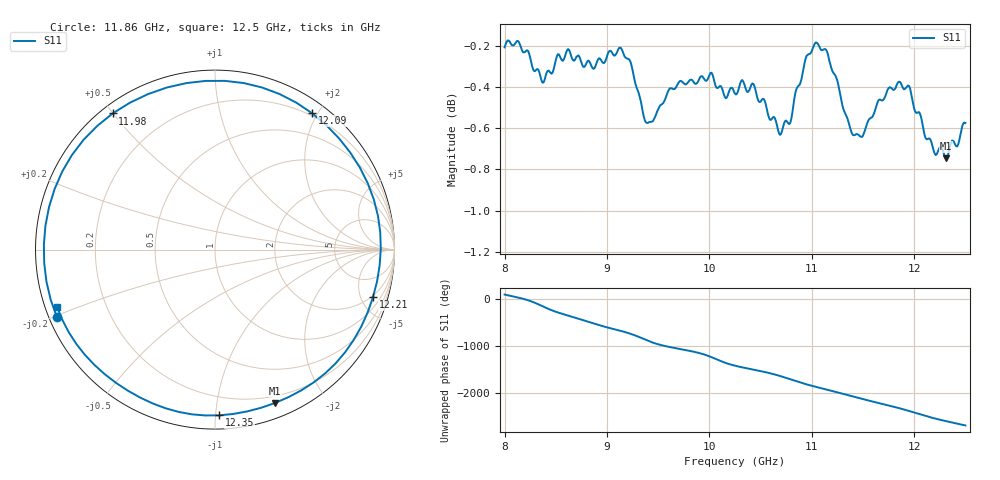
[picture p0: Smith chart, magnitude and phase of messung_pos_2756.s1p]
#  HZ  S  RI  R  50.00
! Rohde & Schwarz Vector Network Analyzer
! Rohde-Schwarz,ZNA43-4Port,1332450044101932,2.92
! Created: UTC 6/1/2026, 11:34:51 AM
! freq[Hz]  re:S11  im:S11
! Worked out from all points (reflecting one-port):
!   451 points, 8 GHz to 12.5 GHz, reference 50 ohm
!   lowest |S11| = -0.7 dB at 12.31 GHz (marker M1), VSWR 23.28, Z = 6.72 - j72.8 ohm
!   phase of S11 starts at 93 deg and turns -2773 deg over the sweep
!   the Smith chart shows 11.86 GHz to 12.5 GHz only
!   S11 on the Smith chart (normalised r, x): 11.86 GHz: 0.02, -0.20; 11.98 GHz: 0.03, +0.50; 12.09 GHz: 0.16, +1.92; 12.21 GHz: 1.83, -6.26; 12.35 GHz: 0.08, -1.02; 12.5 GHz: 0.03, -0.18
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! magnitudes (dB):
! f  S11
! 8 GHz  -0.2
! 8.13 GHz  -0.2
! 8.37 GHz  -0.4
! 8.57 GHz  -0.3
! 8.87 GHz  -0.3
! 9.13 GHz  -0.2
! 9.23 GHz  -0.3
! 9.39 GHz  -0.6
! 9.69 GHz  -0.4
! 10.02 GHz  -0.3
! 10.25 GHz  -0.4
! 10.43 GHz  -0.4
! 10.69 GHz  -0.6
! 10.82 GHz  -0.5
! 10.95 GHz  -0.2
! 11.05 GHz  -0.2
! 11.15 GHz  -0.2
! 11.38 GHz  -0.6
! 11.49 GHz  -0.6
! 11.65 GHz  -0.5
! 11.86 GHz  -0.4
! 11.94 GHz  -0.4
! 11.98 GHz  -0.5
! 12.09 GHz  -0.6
! 12.21 GHz  -0.7
! 12.31 GHz  -0.7
! 12.35 GHz  -0.7
! 12.5 GHz  -0.6
